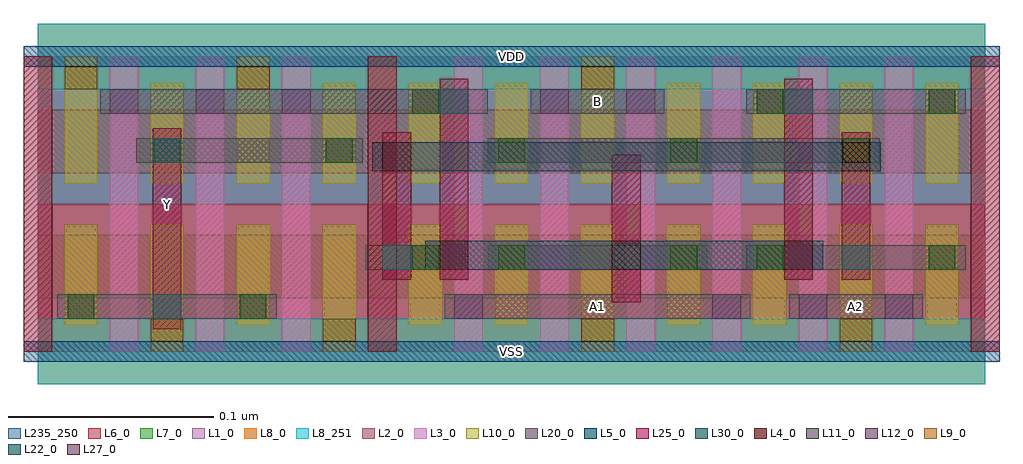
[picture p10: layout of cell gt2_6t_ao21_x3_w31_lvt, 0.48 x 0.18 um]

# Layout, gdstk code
import gdstk
lib = gdstk.Library(unit=1e-6, precision=5e-10)
def R(c, l, rs):  # rectangles x0, y0, x1, y1
    for r in rs: c.add(gdstk.rectangle(r[:2], r[2:], *l))
def A(c, l, x, y, w, h, nx, ny, dx, dy):  # array of equal rectangles
    R(c, l, [(x+i*dx, y+j*dy, x+i*dx+w, y+j*dy+h) for i in range(nx) for j in range(ny)])
L1_0 = (1, 0)
L2_0 = (2, 0)
L3_0 = (3, 0)
L4_0 = (4, 0)
L5_0 = (5, 0)
L6_0 = (6, 0)
L7_0 = (7, 0)
L8_0 = (8, 0)
L8_251 = (8, 251)
L9_0 = (9, 0)
L10_0 = (10, 0)
L11_0 = (11, 0)
L12_0 = (12, 0)
L20_0 = (20, 0)
L22_0 = (22, 0)
L25_0 = (25, 0)
L27_0 = (27, 0)
L30_0 = (30, 0)
L235_250 = (235, 250)

gt2_6t_ao21_x3_w31_lvt = lib.new_cell('gt2_6t_ao21_x3_w31_lvt')
R(gt2_6t_ao21_x3_w31_lvt, L1_0, [(0,0.072,0.462,0.144)])
R(gt2_6t_ao21_x3_w31_lvt, L2_0, [(0,0.026,0.462,0.057), (0,0.087,0.462,0.118)])
A(gt2_6t_ao21_x3_w31_lvt, L3_0, -0.007, 0, 0.014, 0.144, 12, 1, 0.042, 0)
R(gt2_6t_ao21_x3_w31_lvt, L4_0, [(-0.007,0,0.007,0.144), (0.161,0,0.175,0.144), (0.455,0,0.469,0.144)])
R(gt2_6t_ao21_x3_w31_lvt, L5_0, [(-0.007,-0.005,0.469,0.005), (-0.007,0.139,0.469,0.149)])
R(gt2_6t_ao21_x3_w31_lvt, L6_0, [(0,0,0.462,0.072)])
R(gt2_6t_ao21_x3_w31_lvt, L7_0, [(0,0.072,0.462,0.144)])
R(gt2_6t_ao21_x3_w31_lvt, L8_0, [(0,-0.016,0.462,0.016), (0,0.128,0.462,0.16)])
R(gt2_6t_ao21_x3_w31_lvt, L8_251, [(0,-0.016,0.462,0.016), (0,0.128,0.462,0.16)])
A(gt2_6t_ao21_x3_w31_lvt, L9_0, 0.139, 0.005, 0.016, 0.011, 3, 1, 0.126, 0)
R(gt2_6t_ao21_x3_w31_lvt, L9_0, [(0.055,0.005,0.071,0.016), (0.013,0.128,0.029,0.139), (0.097,0.128,0.113,0.139), (0.265,0.128,0.281,0.139)])
A(gt2_6t_ao21_x3_w31_lvt, L10_0, 0.139, 0, 0.016, 0.062, 3, 1, 0.126, 0)
A(gt2_6t_ao21_x3_w31_lvt, L10_0, 0.013, 0.013, 0.016, 0.049, 3, 1, 0.084, 0)
A(gt2_6t_ao21_x3_w31_lvt, L10_0, 0.139, 0.082, 0.016, 0.049, 3, 1, 0.042, 0)
A(gt2_6t_ao21_x3_w31_lvt, L10_0, 0.307, 0.082, 0.016, 0.049, 4, 1, 0.042, 0)
R(gt2_6t_ao21_x3_w31_lvt, L10_0, [(0.055,0,0.071,0.062), (0.223,0.013,0.239,0.062), (0.307,0.013,0.323,0.062), (0.349,0.013,0.365,0.062), (0.433,0.013,0.449,0.062), (0.013,0.082,0.029,0.144), (0.055,0.082,0.071,0.131), (0.097,0.082,0.113,0.144), (0.265,0.082,0.281,0.144)])
A(gt2_6t_ao21_x3_w31_lvt, L11_0, 0.0565, 0.092, 0.013, 0.012, 5, 1, 0.084, 0)
R(gt2_6t_ao21_x3_w31_lvt, L11_0, [(0.0145,0.016,0.0275,0.028), (0.0985,0.016,0.1115,0.028), (0.1825,0.04,0.1955,0.052), (0.2245,0.04,0.2375,0.052), (0.3085,0.04,0.3215,0.052), (0.3505,0.04,0.3635,0.052), (0.4345,0.04,0.4475,0.052), (0.1825,0.116,0.1955,0.128), (0.3505,0.116,0.3635,0.128), (0.4345,0.116,0.4475,0.128)])
A(gt2_6t_ao21_x3_w31_lvt, L12_0, 0.329, 0.016, 0.014, 0.012, 3, 1, 0.042, 0)
A(gt2_6t_ao21_x3_w31_lvt, L12_0, 0.035, 0.116, 0.014, 0.012, 3, 1, 0.042, 0)
R(gt2_6t_ao21_x3_w31_lvt, L12_0, [(0.203,0.016,0.217,0.028), (0.245,0.116,0.259,0.128), (0.287,0.116,0.301,0.128)])
R(gt2_6t_ao21_x3_w31_lvt, L20_0, [(0.0095,0.016,0.1165,0.028), (0.1985,0.016,0.3475,0.028), (0.3665,0.016,0.4315,0.028), (0.16,0.04,0.2005,0.052), (0.2195,0.04,0.3265,0.052), (0.3455,0.04,0.4525,0.052), (0.048,0.092,0.1585,0.104), (0.2195,0.092,0.4105,0.104), (0.0305,0.116,0.2195,0.128), (0.2405,0.116,0.3055,0.128), (0.3455,0.116,0.4525,0.128)])
A(gt2_6t_ao21_x3_w31_lvt, L22_0, 0.168, 0.04, 0.014, 0.012, 3, 1, 0.112, 0)
R(gt2_6t_ao21_x3_w31_lvt, L22_0, [(0.056,0.016,0.07,0.028), (0.056,0.092,0.07,0.104), (0.196,0.116,0.21,0.128), (0.364,0.116,0.378,0.128)])
R(gt2_6t_ao21_x3_w31_lvt, L25_0, [(0.056,0.011,0.07,0.109), (0.28,0.024,0.294,0.096), (0.168,0.035,0.182,0.107), (0.196,0.035,0.21,0.133), (0.364,0.035,0.378,0.133), (0.392,0.035,0.406,0.107)])
A(gt2_6t_ao21_x3_w31_lvt, L27_0, 0.196, 0.04, 0.014, 0.014, 3, 1, 0.084, 0)
R(gt2_6t_ao21_x3_w31_lvt, L27_0, [(0.168,0.088,0.182,0.102), (0.392,0.088,0.406,0.102)])
R(gt2_6t_ao21_x3_w31_lvt, L30_0, [(0.189,0.04,0.383,0.054), (0.163,0.088,0.411,0.102)])
R(gt2_6t_ao21_x3_w31_lvt, L235_250, [(0,0,0.462,0.144)])
gt2_6t_ao21_x3_w31_lvt.add(gdstk.Label('VSS', (0.231,0), layer=8, texttype=251))
gt2_6t_ao21_x3_w31_lvt.add(gdstk.Label('VDD', (0.231,0.144), layer=8, texttype=251))
gt2_6t_ao21_x3_w31_lvt.add(gdstk.Label('A2', (0.399,0.022), layer=20, texttype=251))
gt2_6t_ao21_x3_w31_lvt.add(gdstk.Label('B', (0.273,0.122), layer=20, texttype=251))
gt2_6t_ao21_x3_w31_lvt.add(gdstk.Label('A1', (0.273,0.022), layer=20, texttype=251))
gt2_6t_ao21_x3_w31_lvt.add(gdstk.Label('Y', (0.063,0.072), layer=25, texttype=251))

lib.write_gds('gt2_6t_ao21_x3_w31_lvt.gds')
